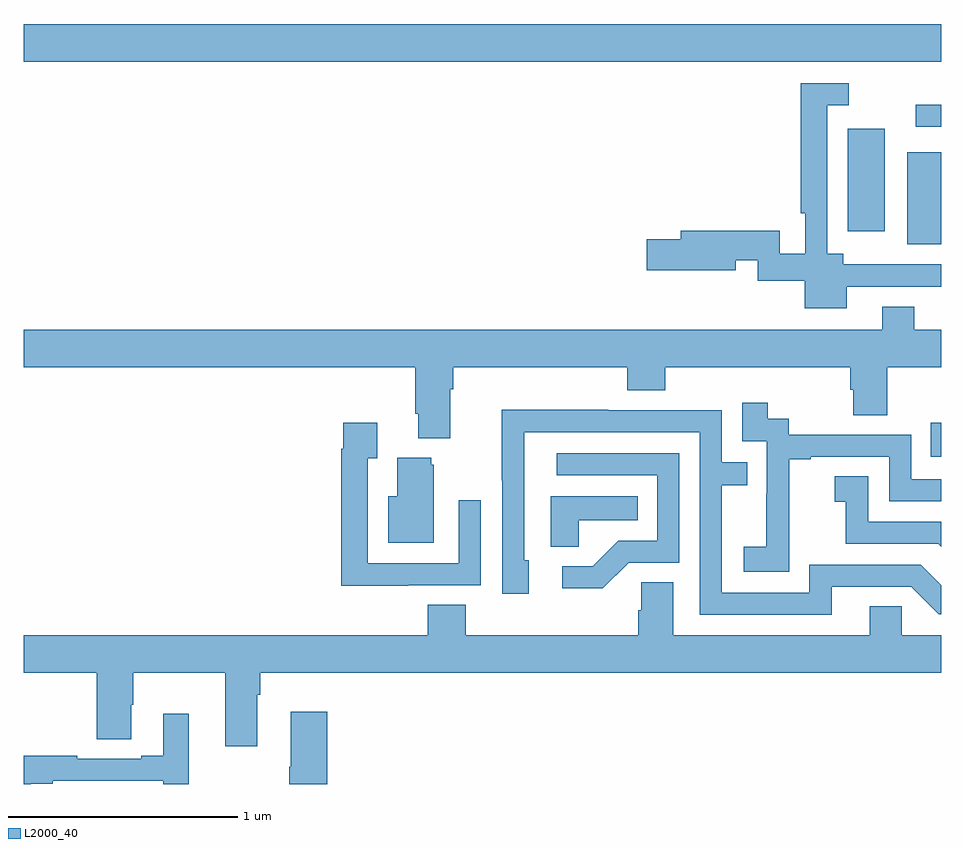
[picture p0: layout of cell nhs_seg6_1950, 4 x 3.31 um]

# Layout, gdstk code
import gdstk
lib = gdstk.Library(unit=1e-6, precision=1e-09)
def R(c, l, rs):  # rectangles x0, y0, x1, y1
    for r in rs: c.add(gdstk.rectangle(r[:2], r[2:], *l))
def P(c, l, *ps):  # polygons
    for p in ps: c.add(gdstk.Polygon(p, *l))
L2000_40 = (2000, 40)

nhs_seg6_1950 = lib.new_cell('nhs_seg6_1950')
R(nhs_seg6_1950, L2000_40, [(230.953,966.927,231,967.075), (230.852,967.853,231,968.254), (230.591,967.908,230.752,968.356), (230.889,968.364,231,968.46), (227,968.648,231,968.812)])
P(nhs_seg6_1950, L2000_40, [(230.587,967.668),(231,967.668),(231,967.764),(230.572,967.764),(230.572,967.81),(230.502,967.81),(230.502,968.457),(230.596,968.457),(230.596,968.553),(230.386,968.553),(230.386,967.988),(230.406,967.988),(230.406,967.811),(230.295,967.811),(230.295,967.91),(229.865,967.91),(229.865,967.874),(229.716,967.874),(229.716,967.739),(230.104,967.739),(230.104,967.782),(230.199,967.782),(230.199,967.694),(230.405,967.694),(230.405,967.574),(230.587,967.574)],
  [(228.859,967.22),(228.872,967.22),(228.872,967.316),(229.631,967.316),(229.631,967.217),(229.796,967.217),(229.796,967.316),(230.603,967.316),(230.603,967.218),(230.615,967.218),(230.615,967.108),(230.763,967.108),(230.763,967.316),(231,967.316),(231,967.48),(230.881,967.48),(230.881,967.579),(230.741,967.579),(230.741,967.48),(227,967.48),(227,967.316),(228.707,967.316),(228.707,967.114),(228.719,967.114),(228.719,967.007),(228.859,967.007)],
  [(230.337,966.631),(230.336,966.631),(230.336,966.915),(230.431,966.915),(230.431,966.927),(230.772,966.927),(230.772,966.732),(231,966.732),(231,966.828),(230.868,966.828),(230.868,967.023),(230.334,967.023),(230.334,967.092),(230.242,967.092),(230.242,967.162),(230.133,967.162),(230.133,966.993),(230.238,966.993),(230.238,966.764),(230.237,966.764),(230.237,966.535),(230.139,966.535),(230.139,966.425),(230.337,966.425)],
  [(230.521,966.36),(230.868,966.36),(230.988,966.24),(231,966.24),(231,966.366),(230.91,966.456),(230.424,966.456),(230.424,966.333),(230.043,966.333),(230.043,966.802),(230.153,966.802),(230.153,966.903),(230.043,966.903),(230.043,967.128),(229.547,967.128),(229.547,967.13),(229.084,967.13),(229.084,966.823),(229.086,966.823),(229.086,966.33),(229.201,966.33),(229.201,966.474),(229.182,966.474),(229.182,967.032),(229.947,967.032),(229.947,966.237),(230.521,966.237)],
  [(228.677,966.366),(228.993,966.366),(228.993,966.736),(228.897,966.736),(228.897,966.462),(228.501,966.462),(228.501,966.919),(228.541,966.919),(228.541,967.075),(228.393,967.075),(228.393,966.962),(228.385,966.962),(228.385,966.365),(228.677,966.365)],
  [(229.638,966.465),(229.857,966.465),(229.857,966.942),(229.323,966.942),(229.323,966.846),(229.761,966.846),(229.761,966.561),(229.592,966.561),(229.481,966.45),(229.347,966.45),(229.347,966.353),(229.525,966.353)],
  [(228.787,966.891),(228.776,966.891),(228.776,966.922),(228.629,966.922),(228.629,966.754),(228.59,966.754),(228.59,966.551),(228.787,966.551)],
  [(231,966.642),(230.682,966.642),(230.682,966.841),(230.535,966.841),(230.535,966.731),(230.584,966.731),(230.584,966.546),(230.987,966.546),(231,966.533)],
  [(229.419,966.65),(229.676,966.65),(229.676,966.754),(229.298,966.754),(229.298,966.535),(229.419,966.535)],
  [(228.019,965.888),(228.032,965.888),(228.032,965.984),(231,965.984),(231,966.148),(230.826,966.148),(230.826,966.275),(230.687,966.275),(230.687,966.148),(229.831,966.148),(229.831,966.38),(229.692,966.38),(229.692,966.257),(229.679,966.257),(229.679,966.148),(228.926,966.148),(228.926,966.281),(228.761,966.281),(228.761,966.148),(227,966.148),(227,965.984),(227.318,965.984),(227.318,965.695),(227.47,965.695),(227.47,965.846),(227.478,965.846),(227.478,965.984),(227.879,965.984),(227.879,965.664),(228.019,965.664)],
  [(228.323,965.815),(228.164,965.815),(228.164,965.576),(228.157,965.576),(228.157,965.5),(228.323,965.5)],
  [(227.032,965.502),(227.128,965.502),(227.128,965.514),(227.609,965.514),(227.609,965.5),(227.719,965.5),(227.719,965.806),(227.609,965.806),(227.609,965.623),(227.513,965.623),(227.513,965.61),(227.234,965.61),(227.234,965.623),(227,965.623),(227,965.5),(227.032,965.5)])

lib.write_gds('nhs_seg6_1950.gds')
